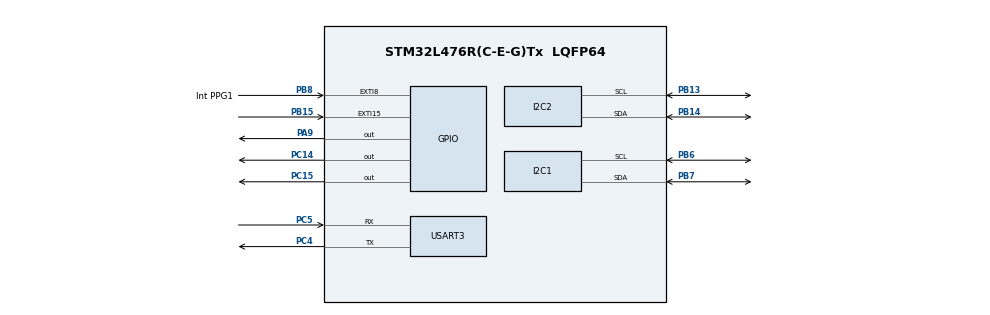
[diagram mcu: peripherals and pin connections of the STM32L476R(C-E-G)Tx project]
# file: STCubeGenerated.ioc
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Mcu.Family=STM32L4
Mcu.Name=STM32L476R(C-E-G)Tx
Mcu.Package=LQFP64
NVIC.EXTI15_10_IRQn=true\:0\:0\:false\:false\:true\:true
NVIC.EXTI9_5_IRQn=true\:0\:0\:false\:false\:true\:true
NVIC.PriorityGroup=NVIC_PRIORITYGROUP_4
PA13\ (JTMS-SWDIO).Mode=Serial_Wire
PA13\ (JTMS-SWDIO).Signal=SYS_JTMS-SWDIO
PA14\ (JTCK-SWCLK).Mode=Serial_Wire
PA14\ (JTCK-SWCLK).Signal=SYS_JTCK-SWCLK
PA9.Signal=GPIO_Output
PB13.Mode=I2C
PB13.Signal=I2C2_SCL
PB14.Mode=I2C
PB14.Signal=I2C2_SDA
PB15.GPIO_ModeDefaultEXTI=GPIO_MODE_IT_FALLING
PB15.Signal=GPXTI15
PB6.Mode=I2C
PB6.Signal=I2C1_SCL
PB7.Mode=I2C
PB7.Signal=I2C1_SDA
PB8.GPIO_Label=Int PPG1
PB8.GPIO_ModeDefaultEXTI=GPIO_MODE_IT_FALLING
PB8.Signal=GPXTI8
PC14-OSC32_IN\ (PC14).Signal=GPIO_Output
PC15-OSC32_OUT\ (PC15).Signal=GPIO_Output
PC4.Mode=Asynchronous
PC4.Signal=USART3_TX
PC5.Mode=Asynchronous
PC5.Signal=USART3_RX
ProjectManager.HeapSize=0x200
ProjectManager.StackSize=0x400
ProjectManager.TargetToolchain=Makefile
RCC.HSE_VALUE=8000000
RCC.HSI_VALUE=16000000
RCC.LSE_VALUE=32768
RCC.MSI_VALUE=4000000
RCC.VCOOutputFreq_Value=32000000
USART3.VirtualMode-Asynchronous=VM_ASYNC
board=STCubeGenerated

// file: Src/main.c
/**
  ******************************************************************************
  * File Name          : main.c
  * Description        : Main program body
  ******************************************************************************
  ** This notice applies to any and all portions of this file
  * that are not between comment pairs USER CODE BEGIN and
  * USER CODE END. Other portions of this file, whether
  * inserted by the user or by software development tools
  * are owned by their respective copyright owners.
  *
  * COPYRIGHT(c) 2018 STMicroelectronics
  *
  * Redistribution and use in source and binary forms, with or without modification,
  * are permitted provided that the following conditions are met:
  *   1. Redistributions of source code must retain the above copyright notice,
  *      this list of conditions and the following disclaimer.
  *   2. Redistributions in binary form must reproduce the above copyright notice,
  *      this list of conditions and the following disclaimer in the documentation
  *      and/or other materials provided with the distribution.
  *   3. Neither the name of STMicroelectronics nor the names of its contributors
  *      may be used to endorse or promote products derived from this software
  *      without specific prior written permission.
  *
  * THIS SOFTWARE IS PROVIDED BY THE COPYRIGHT HOLDERS AND CONTRIBUTORS "AS IS"
  * AND ANY EXPRESS OR IMPLIED WARRANTIES, INCLUDING, BUT NOT LIMITED TO, THE
  * IMPLIED WARRANTIES OF MERCHANTABILITY AND FITNESS FOR A PARTICULAR PURPOSE ARE
  * DISCLAIMED. IN NO EVENT SHALL THE COPYRIGHT HOLDER OR CONTRIBUTORS BE LIABLE
  * FOR ANY DIRECT, INDIRECT, INCIDENTAL, SPECIAL, EXEMPLARY, OR CONSEQUENTIAL
  * DAMAGES (INCLUDING, BUT NOT LIMITED TO, PROCUREMENT OF SUBSTITUTE GOODS OR
  * SERVICES; LOSS OF USE, DATA, OR PROFITS; OR BUSINESS INTERRUPTION) HOWEVER
  * CAUSED AND ON ANY THEORY OF LIABILITY, WHETHER IN CONTRACT, STRICT LIABILITY,
  * OR TORT (INCLUDING NEGLIGENCE OR OTHERWISE) ARISING IN ANY WAY OUT OF THE USE
  * OF THIS SOFTWARE, EVEN IF ADVISED OF THE POSSIBILITY OF SUCH DAMAGE.
  *
  ******************************************************************************
  */

#include "main.h"
#include "stm32l4xx_hal.h"

/* USER CODE BEGIN Includes */
//include MAX30101 driver
#include "C:\Users\Lex-alviur\Desktop\New folder\max30101_new.h.h"
//include LIS331DLH driver
#include "C:\Users\Lex-alviur\Desktop\New folder\lis331dlh_driver.h"
/* USER CODE END Includes */

I2C_HandleTypeDef hi2c1;
I2C_HandleTypeDef hi2c2;

UART_HandleTypeDef huart3;

/* USER CODE BEGIN PV */
/* Private variables ---------------------------------------------------------*/
volatile char ppgReady = 1;
I2C_HandleTypeDef LIS331_I2C;
// macros para frame
#define FRAME_UART_START 0xAA
#define FRAME_UART_END 0x55

#define FRAME_UART_SIZE_SAMPLE 0x03
#define FRAME_UART_SIZE_START 0x01
#define FRAME_UART_SIZE_END 0x01
#define FRAME_UART_SIZE_FRAME FRAME_UART_SIZE_START + FRAME_UART_SIZE_SAMPLE + FRAME_UART_SIZE_END

#define FRAME_UART_ADD_SAMPLE FRAME_UART_SIZE_START
#define FRAME_UART_ADD_START  0
#define FRAME_UART_ADD_END FRAME_UART_SIZE_START + FRAME_UART_SIZE_SAMPLE

uint8_t frame[FRAME_UART_SIZE_FRAME]={0};

/* USER CODE END PV */

void SystemClock_Config(void);
static void MX_GPIO_Init(void);
static void MX_I2C1_Init(void);
static void MX_USART3_UART_Init(void);
static void MX_I2C2_Init(void);

/* USER CODE BEGIN PFP */
/* Private function prototypes -----------------------------------------------*/

/* USER CODE END PFP */

int main(void)
{

  /* USER CODE BEGIN 1 */
	int errorCode=0;
	uint8_t response;
	uint8_t DataReg[2]={0};
  //uint8_t position=0, old_position=0;
  AxesRaw_t data;
  //i8_t val=0;
  uint8_t len = 0x20;

	frame[FRAME_UART_ADD_START] = FRAME_UART_START;
	frame[FRAME_UART_ADD_END] = FRAME_UART_END;

	HAL_StatusTypeDef returnValue;

  /* USER CODE END 1 */

  /* MCU Configuration----------------------------------------------------------*/

  /* Reset of all peripherals, Initializes the Flash interface and the Systick. */
  HAL_Init();

  /* Configure the system clock */
  SystemClock_Config();

  /* Initialize all configured peripherals */
  MX_GPIO_Init();
  MX_I2C1_Init();
  MX_USART3_UART_Init();
  MX_I2C2_Init();

  /* USER CODE BEGIN 2 */
	// Turn on the voltage regulator 1.8v
	HAL_GPIO_WritePin(GPIOA,GPIO_PIN_9,GPIO_PIN_SET);
	// Turn on LED
	HAL_GPIO_WritePin(GPIOC,GPIO_PIN_14,GPIO_PIN_SET);
	// ==============Initialize PPG sensor  ================== //
	errorCode=max30101_init(hi2c1);
	errorCode=max30101_init(hi2c2);

	// ============ Initialize Accelerometer ================= //
	LIS331_Init(hi2c1);
  //set ODR (turn ON device)
	response = LIS331DLH_SetODR( LIS331DLH_ODR_100Hz);
	//set PowerMode
	response = LIS331DLH_SetMode( LIS331DLH_NORMAL);
	//set Fullscale
	response = LIS331DLH_SetFullScale( LIS331DLH_FULLSCALE_2);
	//set axis Enable
	response = LIS331DLH_SetAxis( LIS331DLH_X_ENABLE | LIS331DLH_Y_ENABLE |  LIS331DLH_Z_ENABLE);

  /* USER CODE END 2 */

  /* Infinite loop */
  /* USER CODE BEGIN WHILE */

	// Turn on PPG sensor
	max30101_on(hi2c1);
	max30101_on(hi2c2);
	//max30101_on(hi2c2);
  while (1)
  {
  /* USER CODE END WHILE */

  /* USER CODE BEGIN 3 */
		if(ppgReady){

			ppgReady = 0;

			// get PPG data
			max30101_sample_fetch( frame + FRAME_UART_ADD_SAMPLE, MAX30101_BYTES_PER_CHANNEL,hi2c1);
			//get Acceleration Raw data
			response = LIS331DLH_GetAccAxesRaw(&data);

//			if(response==1){
//				//print data values
//				//function for MKI109V1 board
//				len = sprintf((char*)buffer, "X=%6d Y=%6d Z=%6d\r\n", data.AXIS_X, data.AXIS_Y, data.AXIS_Z);
//				//HAL_I2C_Master_Transmit(&hi2c1,0xC<<1,buffer, len,100);
//			}

			//HAL_UART_Transmit(&huart4, frame, FRAME_UART_SIZE_FRAME, 5000);
		}
  }
  /* USER CODE END 3 */

}

/** System Clock Configuration
*/
void SystemClock_Config(void)
{

  RCC_OscInitTypeDef RCC_OscInitStruct;
  RCC_ClkInitTypeDef RCC_ClkInitStruct;
  RCC_PeriphCLKInitTypeDef PeriphClkInit;

    /**Initializes the CPU, AHB and APB busses clocks
    */
  RCC_OscInitStruct.OscillatorType = RCC_OSCILLATORTYPE_MSI;
  RCC_OscInitStruct.MSIState = RCC_MSI_ON;
  RCC_OscInitStruct.MSICalibrationValue = 0;
  RCC_OscInitStruct.MSIClockRange = RCC_MSIRANGE_6;
  RCC_OscInitStruct.PLL.PLLState = RCC_PLL_NONE;
  if (HAL_RCC_OscConfig(&RCC_OscInitStruct) != HAL_OK)
  {
    _Error_Handler(__FILE__, __LINE__);
  }

    /**Initializes the CPU, AHB and APB busses clocks
    */
  RCC_ClkInitStruct.ClockType = RCC_CLOCKTYPE_HCLK|RCC_CLOCKTYPE_SYSCLK
                              |RCC_CLOCKTYPE_PCLK1|RCC_CLOCKTYPE_PCLK2;
  RCC_ClkInitStruct.SYSCLKSource = RCC_SYSCLKSOURCE_MSI;
  RCC_ClkInitStruct.AHBCLKDivider = RCC_SYSCLK_DIV1;
  RCC_ClkInitStruct.APB1CLKDivider = RCC_HCLK_DIV1;
  RCC_ClkInitStruct.APB2CLKDivider = RCC_HCLK_DIV1;

  if (HAL_RCC_ClockConfig(&RCC_ClkInitStruct, FLASH_LATENCY_0) != HAL_OK)
  {
    _Error_Handler(__FILE__, __LINE__);
  }

  PeriphClkInit.PeriphClockSelection = RCC_PERIPHCLK_USART3|RCC_PERIPHCLK_I2C1
                              |RCC_PERIPHCLK_I2C2;
  PeriphClkInit.Usart3ClockSelection = RCC_USART3CLKSOURCE_PCLK1;
  PeriphClkInit.I2c1ClockSelection = RCC_I2C1CLKSOURCE_PCLK1;
  PeriphClkInit.I2c2ClockSelection = RCC_I2C2CLKSOURCE_PCLK1;
  if (HAL_RCCEx_PeriphCLKConfig(&PeriphClkInit) != HAL_OK)
  {
    _Error_Handler(__FILE__, __LINE__);
  }

    /**Configure the main internal regulator output voltage
    */
  if (HAL_PWREx_ControlVoltageScaling(PWR_REGULATOR_VOLTAGE_SCALE1) != HAL_OK)
  {
    _Error_Handler(__FILE__, __LINE__);
  }

    /**Configure the Systick interrupt time
    */
  HAL_SYSTICK_Config(HAL_RCC_GetHCLKFreq()/1000);

    /**Configure the Systick
    */
  HAL_SYSTICK_CLKSourceConfig(SYSTICK_CLKSOURCE_HCLK);

  /* SysTick_IRQn interrupt configuration */
  HAL_NVIC_SetPriority(SysTick_IRQn, 0, 0);
}

/* I2C1 init function */
static void MX_I2C1_Init(void)
{

  hi2c1.Instance = I2C1;
  hi2c1.Init.Timing = 0x00000E14;
  hi2c1.Init.OwnAddress1 = 0;
  hi2c1.Init.AddressingMode = I2C_ADDRESSINGMODE_7BIT;
  hi2c1.Init.DualAddressMode = I2C_DUALADDRESS_DISABLE;
  hi2c1.Init.OwnAddress2 = 0;
  hi2c1.Init.OwnAddress2Masks = I2C_OA2_NOMASK;
  hi2c1.Init.GeneralCallMode = I2C_GENERALCALL_DISABLE;
  hi2c1.Init.NoStretchMode = I2C_NOSTRETCH_DISABLE;
  if (HAL_I2C_Init(&hi2c1) != HAL_OK)
  {
    _Error_Handler(__FILE__, __LINE__);
  }

    /**Configure Analogue filter
    */
  if (HAL_I2CEx_ConfigAnalogFilter(&hi2c1, I2C_ANALOGFILTER_ENABLE) != HAL_OK)
  {
    _Error_Handler(__FILE__, __LINE__);
  }

    /**Configure Digital filter
    */
  if (HAL_I2CEx_ConfigDigitalFilter(&hi2c1, 0) != HAL_OK)
  {
    _Error_Handler(__FILE__, __LINE__);
  }

}

/* I2C2 init function */
static void MX_I2C2_Init(void)
{

  hi2c2.Instance = I2C2;
  hi2c2.Init.Timing = 0x00000E14;
  hi2c2.Init.OwnAddress1 = 0;
  hi2c2.Init.AddressingMode = I2C_ADDRESSINGMODE_7BIT;
  hi2c2.Init.DualAddressMode = I2C_DUALADDRESS_DISABLE;
  hi2c2.Init.OwnAddress2 = 0;
  hi2c2.Init.OwnAddress2Masks = I2C_OA2_NOMASK;
  hi2c2.Init.GeneralCallMode = I2C_GENERALCALL_DISABLE;
  hi2c2.Init.NoStretchMode = I2C_NOSTRETCH_DISABLE;
  if (HAL_I2C_Init(&hi2c2) != HAL_OK)
  {
    _Error_Handler(__FILE__, __LINE__);
  }

    /**Configure Analogue filter
    */
  if (HAL_I2CEx_ConfigAnalogFilter(&hi2c2, I2C_ANALOGFILTER_ENABLE) != HAL_OK)
  {
    _Error_Handler(__FILE__, __LINE__);
  }

    /**Configure Digital filter
    */
  if (HAL_I2CEx_ConfigDigitalFilter(&hi2c2, 0) != HAL_OK)
  {
    _Error_Handler(__FILE__, __LINE__);
  }

}

/* USART3 init function */
static void MX_USART3_UART_Init(void)
{

  huart3.Instance = USART3;
  huart3.Init.BaudRate = 115200;
  huart3.Init.WordLength = UART_WORDLENGTH_7B;
  huart3.Init.StopBits = UART_STOPBITS_1;
  huart3.Init.Parity = UART_PARITY_NONE;
  huart3.Init.Mode = UART_MODE_TX_RX;
  huart3.Init.HwFlowCtl = UART_HWCONTROL_NONE;
  huart3.Init.OverSampling = UART_OVERSAMPLING_16;
  huart3.Init.OneBitSampling = UART_ONE_BIT_SAMPLE_DISABLE;
  huart3.AdvancedInit.AdvFeatureInit = UART_ADVFEATURE_NO_INIT;
  if (HAL_UART_Init(&huart3) != HAL_OK)
  {
    _Error_Handler(__FILE__, __LINE__);
  }

}

/** Configure pins as
        * Analog
        * Input
        * Output
        * EVENT_OUT
        * EXTI
*/
static void MX_GPIO_Init(void)
{

  GPIO_InitTypeDef GPIO_InitStruct;

  /* GPIO Ports Clock Enable */
  __HAL_RCC_GPIOC_CLK_ENABLE();
  __HAL_RCC_GPIOB_CLK_ENABLE();
  __HAL_RCC_GPIOA_CLK_ENABLE();

  /*Configure GPIO pin Output Level */
  HAL_GPIO_WritePin(GPIOC, GPIO_PIN_14|GPIO_PIN_15, GPIO_PIN_RESET);

  /*Configure GPIO pin Output Level */
  HAL_GPIO_WritePin(GPIOA, GPIO_PIN_9, GPIO_PIN_RESET);

  /*Configure GPIO pins : PC14 PC15 */
  GPIO_InitStruct.Pin = GPIO_PIN_14|GPIO_PIN_15;
  GPIO_InitStruct.Mode = GPIO_MODE_OUTPUT_PP;
  GPIO_InitStruct.Pull = GPIO_NOPULL;
  GPIO_InitStruct.Speed = GPIO_SPEED_FREQ_LOW;
  HAL_GPIO_Init(GPIOC, &GPIO_InitStruct);

  /*Configure GPIO pins : PB15 Int_PPG1_Pin */
  GPIO_InitStruct.Pin = GPIO_PIN_15|Int_PPG1_Pin;
  GPIO_InitStruct.Mode = GPIO_MODE_IT_FALLING;
  GPIO_InitStruct.Pull = GPIO_NOPULL;
  HAL_GPIO_Init(GPIOB, &GPIO_InitStruct);

  /*Configure GPIO pin : PA9 */
  GPIO_InitStruct.Pin = GPIO_PIN_9;
  GPIO_InitStruct.Mode = GPIO_MODE_OUTPUT_PP;
  GPIO_InitStruct.Pull = GPIO_NOPULL;
  GPIO_InitStruct.Speed = GPIO_SPEED_FREQ_LOW;
  HAL_GPIO_Init(GPIOA, &GPIO_InitStruct);

  /* EXTI interrupt init*/
  HAL_NVIC_SetPriority(EXTI9_5_IRQn, 0, 0);
  HAL_NVIC_EnableIRQ(EXTI9_5_IRQn);

  HAL_NVIC_SetPriority(EXTI15_10_IRQn, 0, 0);
  HAL_NVIC_EnableIRQ(EXTI15_10_IRQn);

}

/* USER CODE BEGIN 4 */
void HAL_GPIO_EXTI_Callback(uint16_t GPIO_Pin)
{

  if ((GPIO_Pin == GPIO_PIN_8) || (GPIO_Pin == GPIO_PIN_15))
  {
		ppgReady = 1;
  }
}
/* USER CODE END 4 */

void _Error_Handler(char * file, int line)
{
  while(1)
  {
  }
}

/************************ (C) COPYRIGHT STMicroelectronics *****END OF FILE****/
